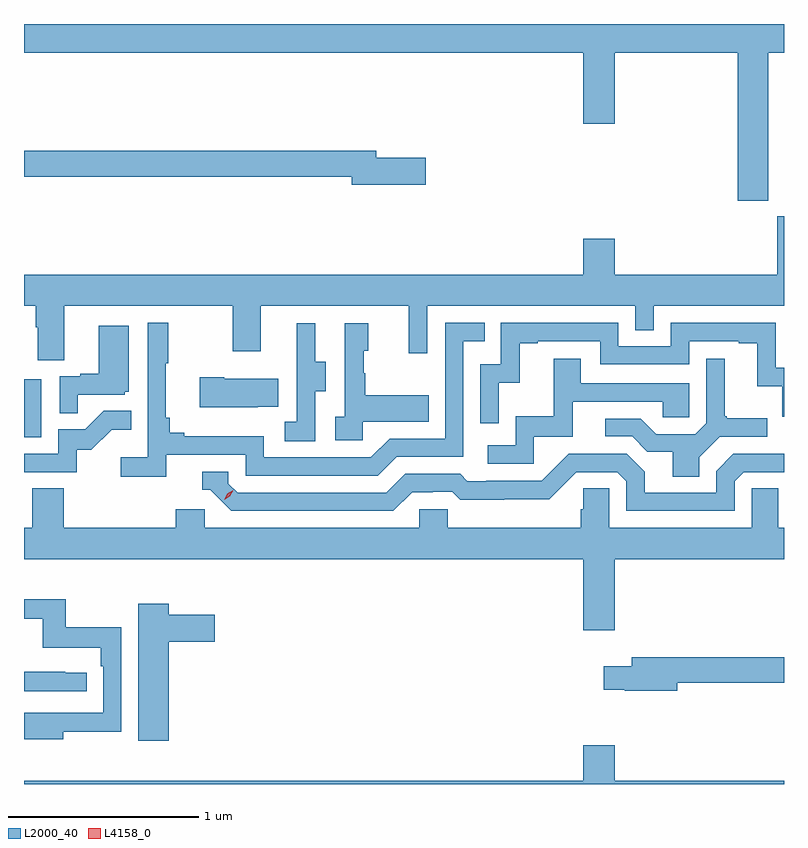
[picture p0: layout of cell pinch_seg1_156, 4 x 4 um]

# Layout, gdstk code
import gdstk
lib = gdstk.Library(unit=1e-6, precision=1e-09)
def R(c, l, rs):  # rectangles x0, y0, x1, y1
    for r in rs: c.add(gdstk.rectangle(r[:2], r[2:], *l))
def P(c, l, *ps):  # polygons
    for p in ps: c.add(gdstk.Polygon(p, *l))
L2000_40 = (2000, 40)
L4158_0 = (4158, 0)

pinch_seg1_156 = lib.new_cell('pinch_seg1_156')
R(pinch_seg1_156, L2000_40, [(1109.116,557.7,1109.206,558.007)])
P(pinch_seg1_156, L2000_40, [(1113.033,559.724),(1113.116,559.724),(1113.116,559.876),(1109.116,559.876),(1109.116,559.724),(1112.06,559.724),(1112.06,559.35),(1112.224,559.35),(1112.224,559.724),(1112.873,559.724),(1112.873,558.945),(1113.033,558.945)],
  [(1111.231,559.172),(1110.97,559.172),(1110.97,559.208),(1109.116,559.208),(1109.116,559.072),(1110.842,559.072),(1110.842,559.03),(1111.231,559.03)],
  [(1109.329,558.392),(1110.214,558.392),(1110.214,558.153),(1110.361,558.153),(1110.361,558.392),(1111.142,558.392),(1111.142,558.144),(1111.239,558.144),(1111.239,558.392),(1112.334,558.392),(1112.334,558.265),(1112.43,558.265),(1112.43,558.392),(1113.116,558.392),(1113.116,558.865),(1113.08,558.865),(1113.08,558.556),(1112.224,558.556),(1112.224,558.745),(1112.06,558.745),(1112.06,558.556),(1109.116,558.556),(1109.116,558.392),(1109.177,558.392),(1109.177,558.28),(1109.189,558.28),(1109.189,558.106),(1109.329,558.106)],
  [(1109.864,557.61),(1110.282,557.61),(1110.282,557.499),(1110.979,557.499),(1111.078,557.598),(1111.428,557.598),(1111.428,558.207),(1111.541,558.207),(1111.541,558.303),(1111.332,558.303),(1111.332,557.694),(1111.041,557.694),(1110.942,557.595),(1110.378,557.595),(1110.378,557.707),(1109.959,557.707),(1109.959,557.726),(1109.882,557.726),(1109.882,557.803),(1109.863,557.803),(1109.863,558.091),(1109.875,558.091),(1109.875,558.304),(1109.766,558.304),(1109.766,557.596),(1109.625,557.596),(1109.625,557.494),(1109.864,557.494)],
  [(1111.614,557.987),(1111.724,557.987),(1111.724,558.195),(1111.819,558.195),(1111.819,558.207),(1112.148,558.207),(1112.148,558.084),(1112.616,558.084),(1112.616,558.207),(1112.879,558.207),(1112.879,558.195),(1112.975,558.195),(1112.975,557.969),(1113.108,557.969),(1113.108,557.808),(1113.116,557.808),(1113.116,558.067),(1113.072,558.067),(1113.072,558.303),(1112.52,558.303),(1112.52,558.18),(1112.244,558.18),(1112.244,558.303),(1111.626,558.303),(1111.626,558.084),(1111.518,558.084),(1111.518,557.775),(1111.614,557.775)],
  [(1110.9,557.783),(1111.247,557.783),(1111.247,557.923),(1110.913,557.923),(1110.913,558.038),(1110.903,558.038),(1110.903,558.156),(1110.928,558.156),(1110.928,558.301),(1110.804,558.301),(1110.804,557.81),(1110.753,557.81),(1110.753,557.685),(1110.9,557.685)],
  [(1110.648,557.944),(1110.703,557.944),(1110.703,558.099),(1110.649,558.099),(1110.649,558.301),(1110.551,558.301),(1110.551,558.087),(1110.552,558.087),(1110.552,557.783),(1110.489,557.783),(1110.489,557.68),(1110.648,557.68)],
  [(1109.399,557.925),(1109.646,557.925),(1109.646,557.94),(1109.668,557.94),(1109.668,558.289),(1109.51,558.289),(1109.51,558.034),(1109.411,558.034),(1109.411,558.021),(1109.304,558.021),(1109.304,557.827),(1109.399,557.827)],
  [(1111.8,557.703),(1112.005,557.703),(1112.005,557.889),(1112.479,557.889),(1112.479,557.805),(1112.616,557.805),(1112.616,557.985),(1112.047,557.985),(1112.047,558.115),(1111.903,558.115),(1111.903,557.812),(1111.704,557.812),(1111.704,557.658),(1111.557,557.658),(1111.557,557.562),(1111.8,557.562)],
  [(1112.671,557.596),(1112.778,557.703),(1113.028,557.703),(1113.028,557.8),(1112.815,557.8),(1112.815,557.812),(1112.803,557.812),(1112.803,558.115),(1112.706,558.115),(1112.706,557.775),(1112.649,557.718),(1112.443,557.718),(1112.362,557.799),(1112.175,557.799),(1112.175,557.706),(1112.316,557.706),(1112.396,557.626),(1112.531,557.626),(1112.531,557.494),(1112.671,557.494)],
  [(1110.347,557.861),(1110.455,557.861),(1110.455,558.01),(1110.169,558.01),(1110.169,558.018),(1110.041,558.018),(1110.041,557.858),(1110.347,557.858)],
  [(1109.394,557.634),(1109.47,557.634),(1109.577,557.741),(1109.681,557.741),(1109.681,557.84),(1109.537,557.84),(1109.439,557.742),(1109.295,557.742),(1109.295,557.613),(1109.116,557.613),(1109.116,557.517),(1109.394,557.517)],
  [(1111.159,557.412),(1111.266,557.412),(1111.266,557.415),(1111.369,557.415),(1111.411,557.373),(1111.644,557.373),(1111.644,557.375),(1111.88,557.375),(1112.022,557.517),(1112.238,557.517),(1112.286,557.469),(1112.286,557.313),(1112.856,557.313),(1112.856,557.469),(1112.904,557.517),(1113.116,557.517),(1113.116,557.615),(1113.066,557.615),(1113.066,557.613),(1112.85,557.613),(1112.76,557.523),(1112.76,557.409),(1112.383,557.409),(1112.383,557.519),(1112.289,557.613),(1111.983,557.613),(1111.842,557.472),(1111.549,557.472),(1111.549,557.469),(1111.45,557.469),(1111.411,557.508),(1111.122,557.508),(1111.023,557.409),(1110.24,557.409),(1110.192,557.457),(1110.192,557.52),(1110.053,557.52),(1110.053,557.424),(1110.096,557.424),(1110.207,557.313),(1111.06,557.313)],
  [(1112.224,557.06),(1113.116,557.06),(1113.116,557.224),(1113.085,557.224),(1113.085,557.432),(1112.946,557.432),(1112.946,557.224),(1112.196,557.224),(1112.196,557.432),(1112.059,557.432),(1112.059,557.322),(1112.045,557.322),(1112.045,557.224),(1111.347,557.224),(1111.347,557.322),(1111.197,557.322),(1111.197,557.224),(1110.066,557.224),(1110.066,557.322),(1109.915,557.322),(1109.915,557.224),(1109.324,557.224),(1109.324,557.432),(1109.159,557.432),(1109.159,557.224),(1109.116,557.224),(1109.116,557.06),(1112.06,557.06),(1112.06,556.686),(1112.224,556.686)],
  [(1109.323,556.15),(1109.628,556.15),(1109.628,556.702),(1109.335,556.702),(1109.335,556.848),(1109.116,556.848),(1109.116,556.747),(1109.214,556.747),(1109.214,556.592),(1109.519,556.592),(1109.519,556.496),(1109.532,556.496),(1109.532,556.251),(1109.219,556.251),(1109.219,556.252),(1109.116,556.252),(1109.116,556.112),(1109.323,556.112)],
  [(1109.878,556.625),(1110.121,556.625),(1110.121,556.767),(1109.878,556.767),(1109.878,556.825),(1109.717,556.825),(1109.717,556.104),(1109.878,556.104)],
  [(1112.554,556.408),(1113.116,556.408),(1113.116,556.544),(1112.315,556.544),(1112.315,556.495),(1112.166,556.495),(1112.166,556.373),(1112.278,556.373),(1112.278,556.366),(1112.554,556.366)],
  [(1109.446,556.461),(1109.333,556.461),(1109.333,556.466),(1109.116,556.466),(1109.116,556.365),(1109.446,556.365)],
  [(1113.116,555.892),(1112.224,555.892),(1112.224,556.081),(1112.06,556.081),(1112.06,555.892),(1109.116,555.892),(1109.116,555.876),(1113.116,555.876)])
P(pinch_seg1_156, L4158_0, [(1110.169,557.371),(1110.169,557.371),(1110.185,557.404),(1110.216,557.423),(1110.216,557.423),(1110.216,557.423),(1110.2,557.39),(1110.169,557.371)])

lib.write_gds('pinch_seg1_156.gds')
